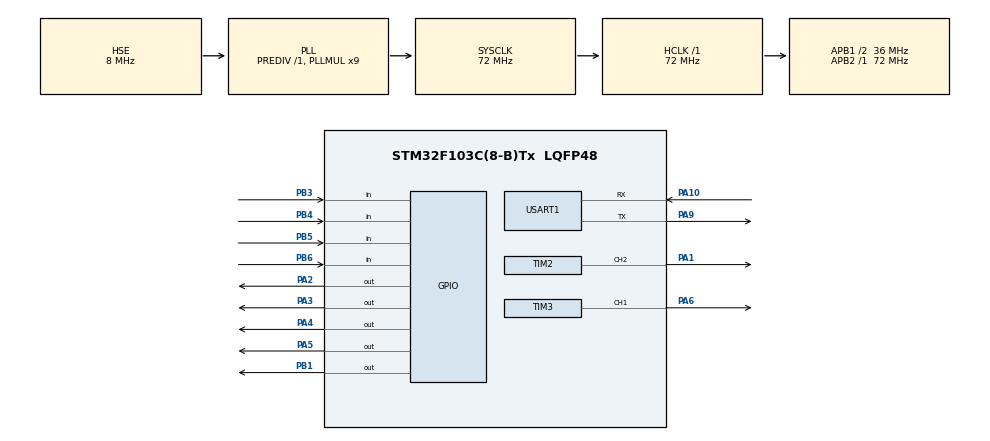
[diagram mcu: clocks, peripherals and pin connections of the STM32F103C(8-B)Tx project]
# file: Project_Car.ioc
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Mcu.Family=STM32F1
Mcu.Name=STM32F103C(8-B)Tx
Mcu.Package=LQFP48
NVIC.PriorityGroup=NVIC_PRIORITYGROUP_4
NVIC.TIM2_IRQn=true\:0\:0\:false\:false\:true\:true\:true
NVIC.TIM3_IRQn=true\:0\:0\:false\:false\:true\:true\:true
NVIC.TIM4_IRQn=true\:0\:0\:false\:false\:true\:true\:true
PA1.Signal=S_TIM2_CH2
PA10.Mode=Asynchronous
PA10.Signal=USART1_RX
PA13.Mode=Serial_Wire
PA13.Signal=SYS_JTMS-SWDIO
PA14.Mode=Serial_Wire
PA14.Signal=SYS_JTCK-SWCLK
PA2.Signal=GPIO_Output
PA3.Signal=GPIO_Output
PA4.Signal=GPIO_Output
PA5.Signal=GPIO_Output
PA6.Signal=S_TIM3_CH1
PA9.Mode=Asynchronous
PA9.Signal=USART1_TX
PB1.Signal=GPIO_Output
PB3.Signal=GPIO_Input
PB4.Signal=GPIO_Input
PB5.Signal=GPIO_Input
PB6.Signal=GPIO_Input
PD0-OSC_IN.Mode=HSE-External-Oscillator
PD0-OSC_IN.Signal=RCC_OSC_IN
PD1-OSC_OUT.Mode=HSE-External-Oscillator
PD1-OSC_OUT.Signal=RCC_OSC_OUT
ProjectManager.HeapSize=0x200
ProjectManager.StackSize=0x400
ProjectManager.TargetToolchain=MDK-ARM V5.27
RCC.AHBFreq_Value=72000000
RCC.APB1CLKDivider=RCC_HCLK_DIV2
RCC.APB1Freq_Value=36000000
RCC.APB1TimFreq_Value=72000000
RCC.APB2Freq_Value=72000000
RCC.APB2TimFreq_Value=72000000
RCC.HCLKFreq_Value=72000000
RCC.PLLMUL=RCC_PLL_MUL9
RCC.PLLSourceVirtual=RCC_PLLSOURCE_HSE
RCC.SYSCLKFreq_VALUE=72000000
RCC.SYSCLKSource=RCC_SYSCLKSOURCE_PLLCLK
RCC.USBFreq_Value=72000000
SH.S_TIM2_CH2.0=TIM2_CH2,PWM Generation2 CH2
SH.S_TIM3_CH1.0=TIM3_CH1,PWM Generation1 CH1
TIM2.AutoReloadPreload=TIM_AUTORELOAD_PRELOAD_DISABLE
TIM2.Channel-PWM\ Generation2\ CH2=TIM_CHANNEL_2
TIM2.Period=100-1
TIM2.Prescaler=7200-1
TIM2.Pulse-PWM\ Generation2\ CH2=100
TIM3.Channel-PWM\ Generation1\ CH1=TIM_CHANNEL_1
TIM3.Period=100-1
TIM3.Prescaler=7200-1
TIM3.Pulse-PWM\ Generation1\ CH1=100
USART1.VirtualMode=VM_ASYNC
VP_TIM2_VS_ClockSourceINT.Mode=Internal
VP_TIM3_VS_ClockSourceINT.Mode=Internal
VP_TIM4_VS_ClockSourceINT.Mode=Internal
board=custom

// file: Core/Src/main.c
/* USER CODE BEGIN Header */
/**
  ******************************************************************************
  * @file           : main.c
  * @brief          : Main program body
  ******************************************************************************
  * @attention
  *
  * <h2><center>&copy; Copyright (c) 2021 STMicroelectronics.
  * All rights reserved.</center></h2>
  *
  * This software component is licensed by ST under BSD 3-Clause license,
  * the "License"; You may not use this file except in compliance with the
  * License. You may obtain a copy of the License at:
  *                        opensource.org/licenses/BSD-3-Clause
  *
  ******************************************************************************
  */
/* USER CODE END Header */
#include "main.h"
#include "tim.h"
#include "usart.h"
#include "gpio.h"

/* USER CODE BEGIN Includes */
#include <stdio.h>
/* USER CODE END Includes */

/* USER CODE BEGIN PTD */
typedef struct Coordinate
{
	uint16_t X;
	uint16_t Y;
}Coordinate;

typedef struct MovingStateOfCar//小车运动方向标志位
{
	uint16_t L;
	uint16_t R;
	uint16_t B;
	uint16_t F;
}CarState;

/* USER CODE END PTD */

/* USER CODE BEGIN PD */
//#define test
#define COUNT 8
#define SPEED 60
#define FBcorrectTime 20
#define LRcorrectTime 40
/* USER CODE END PD */

/* USER CODE BEGIN PV */

enum Turn
{
	Turn_left,
	Turn_right,
	Turn_front,
	Turn_back,
	Turn_leftFront,
	Turn_rightFront,
	Turn_leftBack,
	Turn_rightBack
};

//过线
uint16_t BLast=0;
uint16_t BThis=0;

uint16_t FLast=0;
uint16_t FThis=0;

uint16_t LLast=0;
uint16_t LThis=0;

uint16_t RLast=0;
uint16_t RThis=0;
//过线
uint16_t isBackLine=0;
uint16_t isFrontLine=0;
uint16_t isLeftLine=0;
uint16_t isRightLine=0;

// 四个方向的红外
uint16_t LeftLt;
uint16_t RightLt;
uint16_t FrontLt;
uint16_t BackLt;

//小车坐标
Coordinate CarPoint={0,0};
uint16_t Car_X;
uint16_t Car_Y;

uint16_t To=0;
//进出线标志位
uint16_t FEnter=0;
uint16_t FExit=0;

uint16_t BEnter=0;
uint16_t BExit=0;

uint16_t LEnter=0;
uint16_t LExit=0;

uint16_t REnter=0;
uint16_t RExit=0;
//小车状态

CarState  Carsta;
CarState* pCarsta=&Carsta;

/* USER CODE END PV */

void SystemClock_Config(void);

/* USER CODE BEGIN 0 */

#ifdef test
int fputc(int ch, FILE *f)
{
  HAL_UART_Transmit(&huart1, (uint8_t *)&ch, 1, 0xffff);
  return ch;
}

/**
  * 函数功能: 重定向c库函数getchar,scanf到DEBUG_USARTx
  * 输入参数: 无
  * 返 回 值: 无
  * 说    明：无
  */
int fgetc(FILE *f)
{
  uint8_t ch = 0;
  HAL_UART_Receive(&huart1, &ch, 1, 0xffff);
  return ch;
}

#endif
/**
  * 函数功能: 控制A组电机转动方向 及速度
  * 输入参数: Direction:输入非零是正转  Speed：0-100值越大速度块
  * 返 回 值: 无
  * 说    明：无
  */

void A_control(uint16_t Direction,uint16_t Speed)
{
	if(Direction)
	{
	HAL_GPIO_WritePin(GPIOA,GPIO_PIN_2,GPIO_PIN_SET);
	HAL_GPIO_WritePin(GPIOA,GPIO_PIN_3,GPIO_PIN_RESET);
	__HAL_TIM_SET_COMPARE(&htim2,TIM_CHANNEL_2,Speed);
	}
	else
	{
	HAL_GPIO_WritePin(GPIOA,GPIO_PIN_2,GPIO_PIN_RESET);
	HAL_GPIO_WritePin(GPIOA,GPIO_PIN_3,GPIO_PIN_SET);
	__HAL_TIM_SET_COMPARE(&htim2,TIM_CHANNEL_2,Speed);
	}
}

/**
  * 函数功能: 控制B组电机转动方向 及速度
  * 输入参数: Direction:输入非零是正转  Speed：0-100值越大速度块
  * 返 回 值: 无
  * 说    明：无
  */
void B_control(uint16_t Direction,uint16_t Speed)
{
	if(Direction)
	{
	HAL_GPIO_WritePin(GPIOA,GPIO_PIN_4,GPIO_PIN_SET);
	HAL_GPIO_WritePin(GPIOA,GPIO_PIN_5,GPIO_PIN_RESET);
	__HAL_TIM_SET_COMPARE(&htim3,TIM_CHANNEL_1,Speed);
	}
	else
	{
	HAL_GPIO_WritePin(GPIOA,GPIO_PIN_4,GPIO_PIN_RESET);
	HAL_GPIO_WritePin(GPIOA,GPIO_PIN_5,GPIO_PIN_SET);
	__HAL_TIM_SET_COMPARE(&htim3,TIM_CHANNEL_1,Speed);
	}
}

/**
  * 函数功能: 控制小车运动方向
  * 输入参数: enum 类型的八个方向
  * 返 回 值: 无
  * 说    明：无
  */
void Car_control(int Turn,CarState* CarSta)
{
	switch (Turn)
    {
    	case Turn_front://front
			#ifdef test
			printf("______前进   F=%d" ,CarSta->F);
			#endif
			CarSta->L=0;
			CarSta->F=1;
			CarSta->B=0;
			CarSta->R=0;
			A_control(1,SPEED);
			B_control(1,SPEED);
    		break;

    	case  Turn_back://left
			#ifdef test

			printf("后退   B=%d" ,CarSta->B);
			#endif
			CarSta->L=0;
			CarSta->F=0;
			CarSta->B=1;
			CarSta->R=0;
			A_control(0,SPEED);
			B_control(0,SPEED);
    		break;

		case  Turn_left:
			#ifdef test

			printf("左行  L=%d" ,CarSta->L);
			#endif
			CarSta->L= 1;
			CarSta->F= 0;
			CarSta->B= 0;
			CarSta->R= 0;
			A_control(0,SPEED);
			B_control(1,SPEED);
    		break;

		case  Turn_right:
			#ifdef test

			printf("右行  R=%d" ,CarSta->R);
			#endif
			CarSta->L= 0;
			CarSta->F= 0;
			CarSta->B= 0;
			CarSta->R= 1;
			A_control(1,SPEED);
			B_control(0,SPEED);
    		break;

		case  Turn_rightBack:
			#ifdef test

			printf("右后   R=%d B=%d " ,CarSta->R,CarSta->B);
			#endif
			CarSta->L= 0;
			CarSta->F= 0;
			CarSta->B= 1;
			CarSta->R= 1;
			A_control(0,SPEED);
			B_control(0,0);
    		break;

		case  Turn_rightFront:
			#ifdef test

			printf("右后   R=%d F=%d " ,CarSta->R,CarSta->F);
			#endif
			CarSta->L= 0;
			CarSta->F= 1;
			CarSta->B= 0;
			CarSta->R= 1;
			A_control(1,SPEED);
			B_control(0,0);
    		break;
		case  Turn_leftBack:
			#ifdef test

			printf("右后   L=%d B=%d " ,CarSta->L,CarSta->B);
			#endif
			CarSta->L= 1;
			CarSta->F= 0;
			CarSta->B= 1;
			CarSta->R= 0;
			A_control(1,0);
			B_control(0,SPEED);
    		break;
		case  Turn_leftFront:
			#ifdef test

			printf("右后   L=%d F=%d " ,CarSta->L,CarSta->F);
			#endif
			CarSta->L= 1;
			CarSta->F= 1;
			CarSta->B= 0;
			CarSta->R= 0;
			A_control(1,0);
			B_control(1,SPEED);
    		break;
    	default:
    		break;
    }
}

/**
  * 函数功能: 重定向c库函数getchar,scanf到DEBUG_USARTx
  * 输入参数: 无
  * 返 回 值: 无
  * 说    明：无
  */
void Car_To(int Turn)
{
	switch (Turn)
    {
    	case Turn_front://front
			#ifdef test
			printf("______前进   F=%d" ,Carsta.F);
			#endif
			A_control(1,SPEED);
			B_control(1,SPEED);
    		break;

    	case  Turn_back://left
			#ifdef test
			printf("后退   B=%d" ,Carsta.B);
			#endif
			A_control(0,SPEED);
			B_control(0,SPEED);
    		break;

		case  Turn_left:
			#ifdef test
			printf("左行  L=%d" ,Carsta.L);
			#endif
			A_control(0,SPEED);
			B_control(1,SPEED);
    		break;

		case  Turn_right:
			#ifdef test
			printf("右行  R=%d" ,Carsta.R);
			#endif
			A_control(1,SPEED);
			B_control(0,SPEED);
    		break;
    	default:
    		break;
    }
}

/**
  * 函数功能: 重定向c库函数getchar,scanf到DEBUG_USARTx
  * 输入参数: 无
  * 返 回 值: 无
  * 说    明：无
  */
//void isLine(GPIO_TypeDef* GPIOx,uint16_t GPIO_Pin)
//{
//	Last=0;
//	This=0;
//	This=HAL_GPIO_ReadPin(GPIOx,GPIO_Pin);
//	if ((Last!=This)&&This==1)
//	{
//		printf("入线");
//	}
//	if ((Last!=This)&&This==0)
//	{
//		printf("出线");
//	}
//	Last=This;
//}

/**
  * 函数功能: 使小车移动到固定坐标
  * 输入参数: 目标坐标点
  * 返 回 值: 状态值
  * 说    明：无
  */
//uint16_t ToPoint(Coordinate *Pxy)
//{
//	int Move_x,Move_y;
//	Move_x=Pxy->X-CarPoint.X;
//	Move_y=Pxy->Y-CarPoint.Y;
//
//	if(Move_x>0)
//	{
//		if(Move_y>0)
//		{
//			Car_control(Turn_rightFront,pCarsta);
//		}
//
//		else if(Move_y==0)
//		{
//			Car_control(Turn_right,pCarsta);
//		}
//		else
//		{
//			Car_control(Turn_rightBack,pCarsta);
//		}
//	}
//
//	else if(Move_x==0)
//	{
//		if(Move_y>0)
//		{
//			Car_control(Turn_front,pCarsta);
//		}
//
//		else if(Move_y==0)
//		{
//			return 1;
//		}
//
//		else
//		{
//			Car_control(Turn_back,pCarsta);
//		}
//	}
//
//	else
//	{
//		if(Move_y>0)
//		{
//			Car_control(Turn_leftFront,pCarsta);
//		}
//
//		else if(Move_y==0)
//		{
//			Car_control(Turn_left,pCarsta);
//		}

//		else
//		{
//			Car_control(Turn_leftBack,pCarsta);

//		}
//	}
//}

/**
  * 函数功能: 停止
  * 输入参数: 无
  * 返 回 值: 无
  * 说    明：无
  */

void Stop(CarState* Carsta)
{
	__HAL_TIM_SET_COMPARE(&htim3,TIM_CHANNEL_1,0);
	__HAL_TIM_SET_COMPARE(&htim2,TIM_CHANNEL_2,0);
	Carsta->B=0;
	Carsta->L=0;
	Carsta->F=0;
	Carsta->R=0;
	#ifdef test
	printf("终点");
	#endif
}

/* USER CODE END 0 */

int main(void)
{
  /* USER CODE BEGIN 1 */
	uint16_t Flag=1;
  /* USER CODE END 1 */

  /* MCU Configuration--------------------------------------------------------*/

  /* Reset of all peripherals, Initializes the Flash interface and the Systick. */
  HAL_Init();

  /* Configure the system clock */
  SystemClock_Config();

  /* Initialize all configured peripherals */
  MX_GPIO_Init();
  MX_TIM2_Init();
  MX_TIM3_Init();
  MX_TIM4_Init();
  MX_USART1_UART_Init();
  /* USER CODE BEGIN 2 */
HAL_TIM_PWM_Start(&htim2,TIM_CHANNEL_2);
HAL_TIM_PWM_Start(&htim3,TIM_CHANNEL_1);
HAL_Delay(1000);
HAL_GPIO_TogglePin(GPIOB,GPIO_PIN_1);
HAL_Delay(1000);
HAL_GPIO_TogglePin(GPIOB,GPIO_PIN_1);
HAL_Delay(1000);
Car_control(Turn_front,pCarsta);
  /* USER CODE END 2 */

  /* Infinite loop */
  /* USER CODE BEGIN WHILE */

  while (1)
  {

//	  HAL_Delay(1500);
//	 Car_To(Turn_right);
//
//	  HAL_Delay(3000);
//	  Car_To((Turn_back));
//
//	  HAL_Delay(500);
//	  Car_To((Turn_right));
//
//	  HAL_Delay(3000);
//	  Car_To((Turn_back));
//
//	  HAL_Delay(500);
//	  Car_To((Turn_right));
//	 HAL_Delay(3000);
//	  Car_To(Turn_front);
//

//	This=HAL_GPIO_ReadPin(GPIOB,GPIO_PIN_3);
//	if ((Last!=This)&&This==1)
//	{
//		Enter=1;
//	}
//	else if ((Last!=This)&&This==0)
//	{
//		Exit=1;
//	}
//	Last=This;
	  //坐标逻辑部分
	  #ifdef test
	  printf("start test \n");
	  #endif
//	  Car_control(Turn_back,pCarsta);
//	  Car_control(Turn_left,pCarsta);
	  //获取四路红外状态 判断引起红外感应的是否是地上的线

//A方案测线
////	  BackLt=HAL_GPIO_ReadPin(GPIOB,GPIO_PIN_3);
//	  if (HAL_GPIO_ReadPin(GPIOB,GPIO_PIN_3)==1)
//	  {
//		  isBackLine++;
//	  }
////	  LeftLt=HAL_GPIO_ReadPin(GPIOB,GPIO_PIN_4);
//	  if (HAL_GPIO_ReadPin(GPIOB,GPIO_PIN_4)==1)
//	  {
//		  isLeftLine++;
//	  }
////	  RightLt=HAL_GPIO_ReadPin(GPIOB,GPIO_PIN_5);
//	  if (HAL_GPIO_ReadPin(GPIOB,GPIO_PIN_5)==1)
//	  {
//		  isRightLine++;
//	  }
////	  FrontLt=HAL_GPIO_ReadPin(GPIOB,GPIO_PIN_6);
//	  if (HAL_GPIO_ReadPin(GPIOB,GPIO_PIN_6)==1)
//	  {
//		  isFrontLine++;
//	  }
//A方案测线

////更新自己的坐标  A方案
//	  if(isRightLine>COUNT)
//	  {
//		  isRightLine=0;
//		  CarPoint.X+=Carsta.R;
//		  CarPoint.X-=Carsta.L;
//	  }
//
//	  if(isLeftLine>COUNT)
//	  {
//		  isLeftLine=0;
//		  CarPoint.X-=Carsta.L;
//		  CarPoint.X+=Carsta.R;
//	  }
//
//	  if(isFrontLine>COUNT)
//	  {
//		  isFrontLine=0;
//		  CarPoint.Y+=Carsta.F;
//		  CarPoint.Y-=Carsta.B;
//	  }
//
//	  if(isBackLine>COUNT)
//	  {
//		  isBackLine=0;
//		  CarPoint.Y-=Carsta.B;
//		  CarPoint.Y+=Carsta.F;
//	  }
////A方案

//B方案测线
//后
	BThis=HAL_GPIO_ReadPin(GPIOB,GPIO_PIN_3);
	if ((BLast!=BThis)&&BThis==1)
	{
		BEnter=1;
	}
	else if ((BLast!=BThis)&&BThis==0)
	{
		BExit=1;
	}
	BLast=BThis;
//前
	FThis=HAL_GPIO_ReadPin(GPIOB,GPIO_PIN_6);
	if ((FLast!=FThis)&&FThis==1)
	{
		FEnter=1;
	}
	else if ((FLast!=FThis)&&FThis==0)
	{
		FExit=1;
	}
	FLast=FThis;
//左
	LThis=HAL_GPIO_ReadPin(GPIOB,GPIO_PIN_4);
	if ((LLast!=LThis)&&LThis==1)
	{
		LEnter=1;
	}
	else if ((LLast!=LThis)&&LThis==0)
	{
		LExit=1;
	}
	LLast=LThis;
//右
	RThis=HAL_GPIO_ReadPin(GPIOB,GPIO_PIN_6);
	if ((RLast!=RThis)&&RThis==1)
	{
		FEnter=1;
	}
	else if ((RLast!=RThis)&&RThis==0)
	{
		FExit=1;
	}
	RLast=RThis;
//B 方案检测线

//更新自己的坐标  B方案
	  if(REnter&&RExit)
	  {
		  REnter=0;
		  RExit=0;
		  CarPoint.X+=Carsta.R;
		  CarPoint.X-=Carsta.L;
	  }

	  if(LEnter&&LExit)
	  {
		  LEnter=0;
		  LExit=0;

		  CarPoint.X-=Carsta.L;
		  CarPoint.X+=Carsta.R;
	  }

	  if(FEnter&&FExit)
	  {
		  FEnter=0;
		  FExit=0;

		  CarPoint.Y+=Carsta.F;
		  CarPoint.Y-=Carsta.B;
	  }

	  if(BEnter&&BExit)
	  {
		  BEnter=0;
		  BExit=0;

		  CarPoint.Y-=Carsta.B;
		  CarPoint.Y+=Carsta.F;
	  }
//B方案

//指示灯控制
	  if ((CarPoint.Y==8&&CarPoint.X==0)||(CarPoint.Y==12&&CarPoint.X==12)||(CarPoint.Y==24&&CarPoint.X==6)||(CarPoint.Y==28&&CarPoint.X==14))
	  {
		  HAL_GPIO_WritePin(GPIOB,GPIO_PIN_1,GPIO_PIN_SET);
	  }
	  else
	  {
		  HAL_GPIO_WritePin(GPIOB,GPIO_PIN_1,GPIO_PIN_RESET);
	  }

//程序执行
	  if (CarPoint.X==0&&CarPoint.Y==12)
		Car_control(Turn_right,pCarsta);
	  if ((CarPoint.X==11||CarPoint.X==12)&&(CarPoint.Y==11||CarPoint.Y==10))
		Car_control(Turn_front,pCarsta);
	  if(((CarPoint.X==10||CarPoint.X==11||CarPoint.X==12)&&CarPoint.Y==24)&&Flag)
		Car_control(Turn_left,pCarsta);
	  if(CarPoint.X==6&&CarPoint.Y==24)
		{
		  Flag=0;
		  Car_control(Turn_right,pCarsta);
		}
	  if(CarPoint.X==14&&CarPoint.Y==24)
		  Car_control(Turn_front,pCarsta);
	  if(CarPoint.X==14&&CarPoint.Y==28)
		  Stop(pCarsta);
	  HAL_Delay(10);

//小车修正
	  //前后行 修正
	  if(!(CarPoint.Y%4))
	  {
		if ((Carsta.F||Carsta.B)&&(HAL_GPIO_ReadPin(GPIOB,GPIO_PIN_5)||HAL_GPIO_ReadPin(GPIOB,GPIO_PIN_4)))
		{
		if(HAL_GPIO_ReadPin(GPIOB,GPIO_PIN_5))
		{
			Car_To(Turn_left);
		}
		else if(HAL_GPIO_ReadPin(GPIOB,GPIO_PIN_4))
		{
			Car_To(Turn_right);
		}
		HAL_Delay(FBcorrectTime);
		//修正时间
		if(Carsta.B==1)
		{
			Car_To(Turn_back);
		}
		else if(Carsta.F==1)
		{
			Car_To(Turn_front);
		}
	  }
	  }

	  //左右行 修正
	  if(!(CarPoint.X%2))
	  {
		if ((Carsta.L||Carsta.R)&&(HAL_GPIO_ReadPin(GPIOB,GPIO_PIN_6)||HAL_GPIO_ReadPin(GPIOB,GPIO_PIN_3)))
	  {
		  if(HAL_GPIO_ReadPin(GPIOB,GPIO_PIN_6))
		  {
			  Car_To(Turn_back);
		  }
		  else if(HAL_GPIO_ReadPin(GPIOB,GPIO_PIN_3))
		  {
			  Car_To(Turn_front);
		  }
		  HAL_Delay(LRcorrectTime);
		  //修正时间
		  if(Carsta.L==1)
		  {
			  Car_To(Turn_left);
		  }
		  else if(Carsta.R==1)
		  {
			  Car_To(Turn_right);
		  }
	  }

	  }

//	  if ((CarPoint.X==0&&CarPoint.Y==2)||(CarPoint.X==6&&CarPoint.Y==2)||(CarPoint.X==6&&CarPoint.Y==6)
//		||(CarPoint.X==4&&CarPoint.Y==6)||(CarPoint.X==7&&CarPoint.Y==6)
//	  )
//	  {
//		  To++;
//	  }
//	  switch (To)
//      {
//      	case 1:
//			Car_control(Turn_right,pCarsta);
//      		break;
//      	case 2:
//			Car_control(Turn_front,pCarsta);
//      		break;
//      	case 3:
//			Car_control(Turn_left,pCarsta);
//      		break;
//		case 4:
//			Car_control(Turn_right,pCarsta);
//			break;
//		case 5:
//			Car_control(Turn_front,pCarsta);
//      		break;
//		case 6:
//			if (CarPoint.X==7&&CarPoint.Y==7)
//			{
//				Stop();
//			}
//			break;
//      }

    /* USER CODE END WHILE */

    /* USER CODE BEGIN 3 */
	  #ifdef test
	  printf("FrontLt %d |",FrontLt);
	  printf("RightLt %d |",RightLt);
	  printf("LeftLt  %d |",LeftLt);
	  printf("BackLt  %d |",BackLt);
//	  Car_control(Turn_back,pCarsta);
//	  Car_control(Turn_left,pCarsta);
	  printf("CarPoint.X %d  CarPoint.y %d\n",CarPoint.X,CarPoint.Y);
	  printf("State L---%d F---%d B---%d R---%d ",Carsta.L,Carsta.F,Carsta.B,Carsta.R);
//	  Car_control(Turn_front,pCarsta);
//	  HAL_Delay(1000);
//	  Car_control(Turn_back,pCarsta);//left
//	  HAL_Delay(1000);
//	  Car_control(Turn_left,pCarsta);
//	  HAL_Delay(1000);
//	  Car_control(Turn_right,pCarsta);
//	  HAL_Delay(1000);
//	  Car_control(Turn_rightBack,pCarsta);
//	  HAL_Delay(1000);
//	  Car_control(Turn_leftBack,pCarsta);
//	  HAL_Delay(1000);
//	  Car_control(Turn_rightFront,pCarsta);
//	  HAL_Delay(1000);
//	  Car_control(Turn_leftFront,pCarsta);

	  #endif

//	  HAL_Delay(100);

  }
  /* USER CODE END 3 */
}

void SystemClock_Config(void)
{
  RCC_OscInitTypeDef RCC_OscInitStruct = {0};
  RCC_ClkInitTypeDef RCC_ClkInitStruct = {0};

  /** Initializes the RCC Oscillators according to the specified parameters
  * in the RCC_OscInitTypeDef structure.
  */
  RCC_OscInitStruct.OscillatorType = RCC_OSCILLATORTYPE_HSE;
  RCC_OscInitStruct.HSEState = RCC_HSE_ON;
  RCC_OscInitStruct.HSEPredivValue = RCC_HSE_PREDIV_DIV1;
  RCC_OscInitStruct.HSIState = RCC_HSI_ON;
  RCC_OscInitStruct.PLL.PLLState = RCC_PLL_ON;
  RCC_OscInitStruct.PLL.PLLSource = RCC_PLLSOURCE_HSE;
  RCC_OscInitStruct.PLL.PLLMUL = RCC_PLL_MUL9;
  if (HAL_RCC_OscConfig(&RCC_OscInitStruct) != HAL_OK)
  {
    Error_Handler();
  }
  /** Initializes the CPU, AHB and APB buses clocks
  */
  RCC_ClkInitStruct.ClockType = RCC_CLOCKTYPE_HCLK|RCC_CLOCKTYPE_SYSCLK
                              |RCC_CLOCKTYPE_PCLK1|RCC_CLOCKTYPE_PCLK2;
  RCC_ClkInitStruct.SYSCLKSource = RCC_SYSCLKSOURCE_PLLCLK;
  RCC_ClkInitStruct.AHBCLKDivider = RCC_SYSCLK_DIV1;
  RCC_ClkInitStruct.APB1CLKDivider = RCC_HCLK_DIV2;
  RCC_ClkInitStruct.APB2CLKDivider = RCC_HCLK_DIV1;

  if (HAL_RCC_ClockConfig(&RCC_ClkInitStruct, FLASH_LATENCY_2) != HAL_OK)
  {
    Error_Handler();
  }
}

void Error_Handler(void)
{
}

/************************ (C) COPYRIGHT STMicroelectronics *****END OF FILE****/
